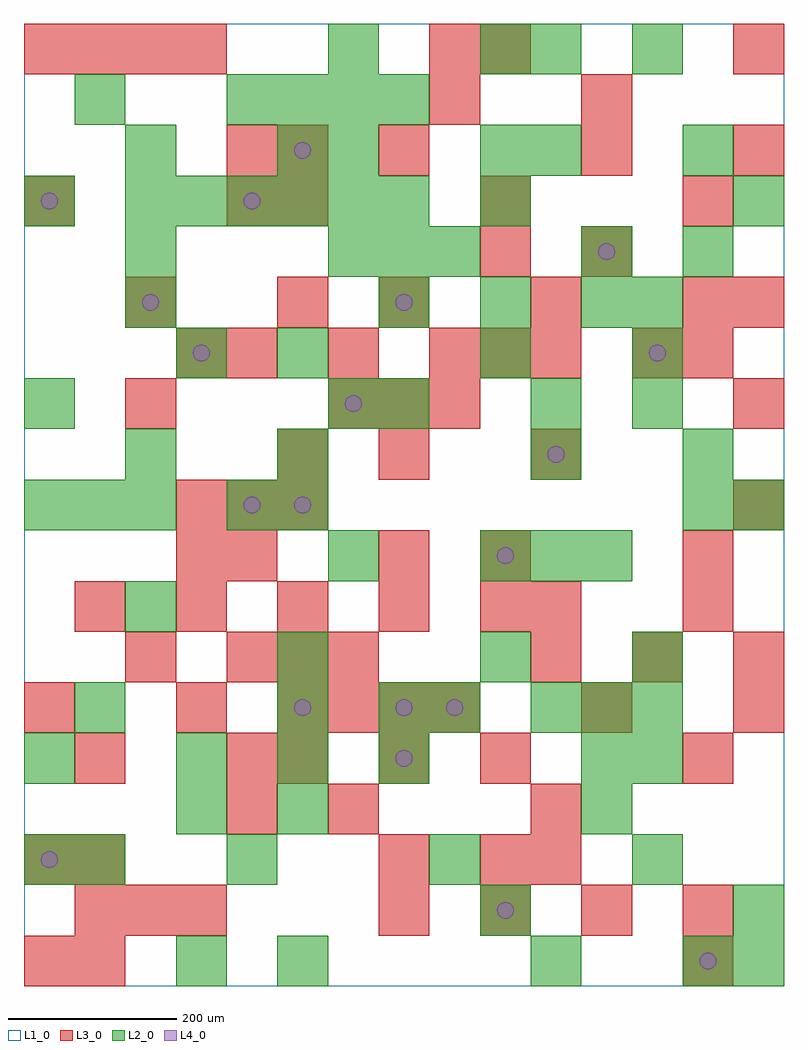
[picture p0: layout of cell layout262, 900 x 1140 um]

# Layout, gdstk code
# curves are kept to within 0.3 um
import gdstk
lib = gdstk.Library(unit=1e-6, precision=1e-09)
def R(c, l, rs):  # rectangles x0, y0, x1, y1
    for r in rs: c.add(gdstk.rectangle(r[:2], r[2:], *l))
def A(c, l, x, y, w, h, nx, ny, dx, dy):  # array of equal rectangles
    R(c, l, [(x+i*dx, y+j*dy, x+i*dx+w, y+j*dy+h) for i in range(nx) for j in range(ny)])
def P(c, l, *ps):  # polygons
    for p in ps: c.add(gdstk.Polygon(p, *l))
L1_0 = (1, 0)
L2_0 = (2, 0)
L3_0 = (3, 0)
L4_0 = (4, 0)

layout262 = lib.new_cell('layout262')
R(layout262, L1_0, [(0,0,900,1140)])
A(layout262, L2_0, 240, 120, 60, 60, 3, 1, 240, 0)
A(layout262, L2_0, 180, 240, 60, 60, 3, 1, 120, 0)
A(layout262, L2_0, 600, 300, 60, 60, 3, 1, 60, 0)
A(layout262, L2_0, 120, 420, 60, 60, 1, 3, 0, 180)
A(layout262, L2_0, 540, 480, 60, 60, 3, 1, 60, 0)
A(layout262, L2_0, 0, 540, 60, 60, 3, 1, 60, 0)
A(layout262, L2_0, 720, 660, 60, 60, 1, 3, 0, 60)
A(layout262, L2_0, 420, 780, 60, 60, 3, 1, 120, 0)
A(layout262, L2_0, 360, 840, 60, 60, 3, 1, 60, 0)
A(layout262, L2_0, 120, 900, 60, 60, 6, 1, 60, 0)
A(layout262, L2_0, 240, 1020, 60, 60, 4, 1, 60, 0)
R(layout262, L2_0, [(180,0,240,60), (300,0,360,60), (600,0,660,60), (780,0,840,60), (840,0,900,60), (540,60,600,120), (840,60,900,120), (0,120,60,180), (60,120,120,180), (180,180,240,240), (300,180,360,240), (660,180,720,240), (0,240,60,300), (660,240,720,300), (720,240,780,300), (60,300,120,360), (300,300,360,360), (420,300,480,360), (480,300,540,360), (300,360,360,420), (540,360,600,420), (720,360,780,420), (360,480,420,540), (240,540,300,600), (300,540,360,600), (780,540,840,600), (840,540,900,600), (300,600,360,660), (600,600,660,660), (780,600,840,660), (0,660,60,720), (360,660,420,720), (420,660,480,720), (600,660,660,720), (180,720,240,780), (300,720,360,780), (540,720,600,780), (120,840,180,900), (660,840,720,900), (780,840,840,900), (0,900,60,960), (540,900,600,960), (840,900,900,960), (120,960,180,1020), (300,960,360,1020), (360,960,420,1020), (540,960,600,1020), (600,960,660,1020), (780,960,840,1020), (60,1020,120,1080), (360,1080,420,1140), (540,1080,600,1140), (600,1080,660,1140), (720,1080,780,1140)])
A(layout262, L3_0, 60, 0, 60, 60, 1, 3, 0, 120)
A(layout262, L3_0, 60, 60, 60, 60, 3, 1, 60, 0)
A(layout262, L3_0, 420, 60, 60, 60, 4, 1, 120, 0)
A(layout262, L3_0, 300, 240, 60, 60, 3, 1, 120, 0)
A(layout262, L3_0, 300, 300, 60, 60, 4, 1, 60, 0)
A(layout262, L3_0, 240, 360, 60, 60, 3, 1, 60, 0)
A(layout262, L3_0, 600, 360, 60, 60, 3, 1, 120, 0)
A(layout262, L3_0, 60, 420, 60, 60, 5, 1, 120, 0)
A(layout262, L3_0, 180, 540, 60, 60, 3, 1, 60, 0)
A(layout262, L3_0, 840, 540, 60, 60, 1, 3, 0, 120)
A(layout262, L3_0, 300, 600, 60, 60, 1, 3, 0, 180)
A(layout262, L3_0, 360, 660, 60, 60, 3, 1, 60, 0)
A(layout262, L3_0, 240, 720, 60, 60, 3, 1, 120, 0)
A(layout262, L3_0, 420, 780, 60, 60, 3, 1, 180, 0)
A(layout262, L3_0, 300, 900, 60, 60, 3, 1, 240, 0)
A(layout262, L3_0, 0, 1080, 60, 60, 4, 1, 60, 0)
R(layout262, L3_0, [(0,0,60,60), (780,0,840,60), (0,120,60,180), (420,120,480,180), (540,120,600,180), (600,120,660,180), (240,180,300,240), (360,180,420,240), (600,180,660,240), (240,240,300,300), (780,240,840,300), (0,300,60,360), (180,300,240,360), (660,300,720,360), (840,300,900,360), (120,360,180,420), (600,420,660,480), (780,420,840,480), (180,480,240,540), (240,480,300,540), (420,480,480,540), (540,480,600,540), (780,480,840,540), (420,600,480,660), (600,600,660,660), (120,660,180,720), (180,720,240,780), (540,720,600,780), (600,720,660,780), (720,720,780,780), (780,720,840,780), (120,780,180,840), (540,840,600,900), (660,840,720,900), (0,900,60,960), (240,900,300,960), (240,960,300,1020), (420,960,480,1020), (660,960,720,1020), (840,960,900,1020), (480,1020,540,1080), (660,1020,720,1080), (480,1080,540,1140), (540,1080,600,1140), (840,1080,900,1140)])
P(layout262, L4_0, [(40,150),(39.239,153.827),(37.071,157.071),(33.827,159.239),(30,160),(26.173,159.239),(22.929,157.071),(20.761,153.827),(20,150),(20.761,146.173),(22.929,142.929),(26.173,140.761),(30,140),(33.827,140.761),(37.071,142.929),(39.239,146.173)],
  [(40,930),(39.239,933.827),(37.071,937.071),(33.827,939.239),(30,940),(26.173,939.239),(22.929,937.071),(20.761,933.827),(20,930),(20.761,926.173),(22.929,922.929),(26.173,920.761),(30,920),(33.827,920.761),(37.071,922.929),(39.239,926.173)],
  [(160,810),(159.239,813.827),(157.071,817.071),(153.827,819.239),(150,820),(146.173,819.239),(142.929,817.071),(140.761,813.827),(140,810),(140.761,806.173),(142.929,802.929),(146.173,800.761),(150,800),(153.827,800.761),(157.071,802.929),(159.239,806.173)],
  [(220,750),(219.239,753.827),(217.071,757.071),(213.827,759.239),(210,760),(206.173,759.239),(202.929,757.071),(200.761,753.827),(200,750),(200.761,746.173),(202.929,742.929),(206.173,740.761),(210,740),(213.827,740.761),(217.071,742.929),(219.239,746.173)],
  [(280,570),(279.239,573.827),(277.071,577.071),(273.827,579.239),(270,580),(266.173,579.239),(262.929,577.071),(260.761,573.827),(260,570),(260.761,566.173),(262.929,562.929),(266.173,560.761),(270,560),(273.827,560.761),(277.071,562.929),(279.239,566.173)],
  [(280,930),(279.239,933.827),(277.071,937.071),(273.827,939.239),(270,940),(266.173,939.239),(262.929,937.071),(260.761,933.827),(260,930),(260.761,926.173),(262.929,922.929),(266.173,920.761),(270,920),(273.827,920.761),(277.071,922.929),(279.239,926.173)],
  [(340,330),(339.239,333.827),(337.071,337.071),(333.827,339.239),(330,340),(326.173,339.239),(322.929,337.071),(320.761,333.827),(320,330),(320.761,326.173),(322.929,322.929),(326.173,320.761),(330,320),(333.827,320.761),(337.071,322.929),(339.239,326.173)],
  [(340,570),(339.239,573.827),(337.071,577.071),(333.827,579.239),(330,580),(326.173,579.239),(322.929,577.071),(320.761,573.827),(320,570),(320.761,566.173),(322.929,562.929),(326.173,560.761),(330,560),(333.827,560.761),(337.071,562.929),(339.239,566.173)],
  [(340,990),(339.239,993.827),(337.071,997.071),(333.827,999.239),(330,1000),(326.173,999.239),(322.929,997.071),(320.761,993.827),(320,990),(320.761,986.173),(322.929,982.929),(326.173,980.761),(330,980),(333.827,980.761),(337.071,982.929),(339.239,986.173)],
  [(400,690),(399.239,693.827),(397.071,697.071),(393.827,699.239),(390,700),(386.173,699.239),(382.929,697.071),(380.761,693.827),(380,690),(380.761,686.173),(382.929,682.929),(386.173,680.761),(390,680),(393.827,680.761),(397.071,682.929),(399.239,686.173)],
  [(460,270),(459.239,273.827),(457.071,277.071),(453.827,279.239),(450,280),(446.173,279.239),(442.929,277.071),(440.761,273.827),(440,270),(440.761,266.173),(442.929,262.929),(446.173,260.761),(450,260),(453.827,260.761),(457.071,262.929),(459.239,266.173)],
  [(460,330),(459.239,333.827),(457.071,337.071),(453.827,339.239),(450,340),(446.173,339.239),(442.929,337.071),(440.761,333.827),(440,330),(440.761,326.173),(442.929,322.929),(446.173,320.761),(450,320),(453.827,320.761),(457.071,322.929),(459.239,326.173)],
  [(460,810),(459.239,813.827),(457.071,817.071),(453.827,819.239),(450,820),(446.173,819.239),(442.929,817.071),(440.761,813.827),(440,810),(440.761,806.173),(442.929,802.929),(446.173,800.761),(450,800),(453.827,800.761),(457.071,802.929),(459.239,806.173)],
  [(520,330),(519.239,333.827),(517.071,337.071),(513.827,339.239),(510,340),(506.173,339.239),(502.929,337.071),(500.761,333.827),(500,330),(500.761,326.173),(502.929,322.929),(506.173,320.761),(510,320),(513.827,320.761),(517.071,322.929),(519.239,326.173)],
  [(580,90),(579.239,93.827),(577.071,97.071),(573.827,99.239),(570,100),(566.173,99.239),(562.929,97.071),(560.761,93.827),(560,90),(560.761,86.173),(562.929,82.929),(566.173,80.761),(570,80),(573.827,80.761),(577.071,82.929),(579.239,86.173)],
  [(580,510),(579.239,513.827),(577.071,517.071),(573.827,519.239),(570,520),(566.173,519.239),(562.929,517.071),(560.761,513.827),(560,510),(560.761,506.173),(562.929,502.929),(566.173,500.761),(570,500),(573.827,500.761),(577.071,502.929),(579.239,506.173)],
  [(640,630),(639.239,633.827),(637.071,637.071),(633.827,639.239),(630,640),(626.173,639.239),(622.929,637.071),(620.761,633.827),(620,630),(620.761,626.173),(622.929,622.929),(626.173,620.761),(630,620),(633.827,620.761),(637.071,622.929),(639.239,626.173)],
  [(700,870),(699.239,873.827),(697.071,877.071),(693.827,879.239),(690,880),(686.173,879.239),(682.929,877.071),(680.761,873.827),(680,870),(680.761,866.173),(682.929,862.929),(686.173,860.761),(690,860),(693.827,860.761),(697.071,862.929),(699.239,866.173)],
  [(760,750),(759.239,753.827),(757.071,757.071),(753.827,759.239),(750,760),(746.173,759.239),(742.929,757.071),(740.761,753.827),(740,750),(740.761,746.173),(742.929,742.929),(746.173,740.761),(750,740),(753.827,740.761),(757.071,742.929),(759.239,746.173)],
  [(820,30),(819.239,33.827),(817.071,37.071),(813.827,39.239),(810,40),(806.173,39.239),(802.929,37.071),(800.761,33.827),(800,30),(800.761,26.173),(802.929,22.929),(806.173,20.761),(810,20),(813.827,20.761),(817.071,22.929),(819.239,26.173)])

lib.write_gds('layout262.gds')
